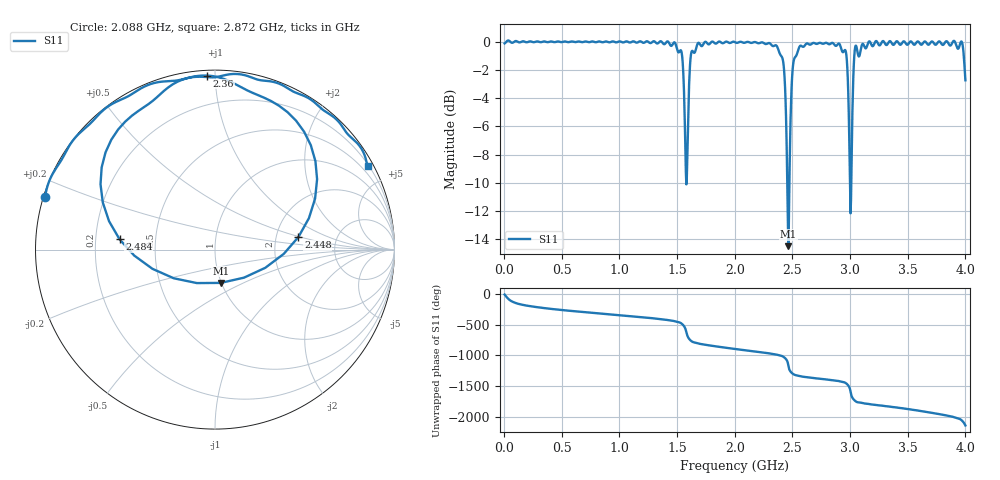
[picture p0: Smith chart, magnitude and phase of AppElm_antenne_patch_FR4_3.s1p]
! TOUCHSTONE file generated by CST MICROWAVE STUDIO
! Date and time: Tue Jun 14 13:15:11 2022
! Project name: AppElm_antenne_patch_FR4.cst
! Parameters = {L=45; W=58.5; e=0.035; h=1.6; lambda=0.190476; ls=120; w0=2.54; w1=0.847; ws=120; y0=15.3; y1=23.8}
! Header version: 2018
! Port assignment regex: !\s*Touchstone port\s*([0-9]+)\s*=\s*(CST MWS port|CST DS port)\s*([0-9]+|Zmin|Zmax)\s*\(\"(.*)\"\)(\s*mode\s*([0-9]+))?.*
! Touchstone port assignment:
! Touchstone port 1 = CST MWS port 1 ("")
# GHz S MA R 50
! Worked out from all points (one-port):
!   1000 points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, 4 MHz to 4 GHz, reference 50 ohm
!   lowest |S11| = -14.5 dB at 2.464 GHz (marker M1), VSWR 1.46, Z = 49.6 - j19.1 ohm
!   |S11| at or under -10 dB: 1.579428 GHz to 1.581106 GHz (1.679 MHz wide, 0.106 % of centre); 2.455 GHz to 2.474 GHz (18.78 MHz wide, 0.762 % of centre); 2.99861 GHz to 3.010274 GHz (11.66 MHz wide, 0.388 % of centre)
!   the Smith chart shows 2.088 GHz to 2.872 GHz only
!   S11 on the Smith chart (normalised r, x): 2.088 GHz: 0.00, +0.15; 2.36 GHz: 0.03, +0.96; 2.448 GHz: 2.67, +0.48; 2.484 GHz: 0.30, +0.05; 2.872 GHz: 0.26, +3.90
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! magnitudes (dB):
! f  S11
! 4 MHz  -0.1
! 504 MHz  0.0
! 1.004 GHz  0.0
! 1.504 GHz  -0.7
! 1.54 GHz  -0.8
! 1.58 GHz  -10.1
! 1.592 GHz  -6.7
! 1.616 GHz  -1.2
! 1.636 GHz  -0.7
! 2.004 GHz  0.0
! 2.088 GHz  -0.1
! 2.36 GHz  -0.3
! 2.42 GHz  -1.4
! 2.432 GHz  -2.6
! 2.448 GHz  -6.6
! 2.464 GHz  -14.5
! 2.484 GHz  -5.4
! 2.504 GHz  -1.8
! 2.572 GHz  -0.3
! 2.872 GHz  -0.3
! 2.96 GHz  -0.6
! 3.004 GHz  -12.2
! 3.016 GHz  -6.8
! 3.04 GHz  -0.6
! 3.052 GHz  -0.3
! 3.504 GHz  -0.2
! 3.96 GHz  0.0
! 4 GHz  -2.7
